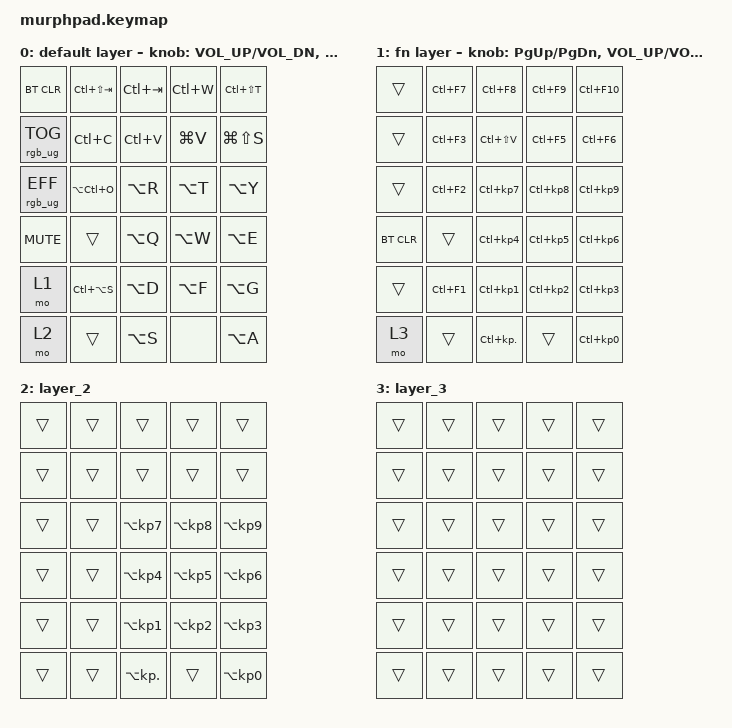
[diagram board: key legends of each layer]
/*
 * Copyright (c) 2021 The ZMK Contributors
 *
 * SPDX-License-Identifier: MIT
 */

#include <behaviors.dtsi>
#include <dt-bindings/zmk/bt.h>
#include <dt-bindings/zmk/keys.h>
#include <dt-bindings/zmk/rgb.h>

#define TIMEOUT 300

&encoder_1 { status = "okay"; };

&encoder_2 { status = "okay"; };

/ {
    combos {
        compatible = "zmk,combos";

        combo_btclr {
            timeout-ms = <TIMEOUT>;
            key-positions = <1 6>;
            bindings = <&bt BT_CLR>;
        };

        combo_reset {
            timeout-ms = <TIMEOUT>;
            key-positions = <1 3>;
            bindings = <&sys_reset>;
        };

        combo_bootloader {
            timeout-ms = <TIMEOUT>;
            key-positions = <1 2>;
            bindings = <&bootloader>;
        };

        combo_bt_nxt {
            timeout-ms = <TIMEOUT>;
            key-positions = <1 4>;
            bindings = <&bt BT_NXT>;
        };
    };

    sensors: sensors {
        compatible = "zmk,keymap-sensors";
        sensors = <&encoder_1 &encoder_2>;
        triggers-per-rotation = <20>;
    };

    keymap0: keymap {
        compatible = "zmk,keymap";

        default_layer {
            display-name = "default layer";
            bindings = <
&bt BT_CLR       &kp LC(LS(TAB))  &kp LC(TAB)  &kp LC(W)  &kp LC(LS(T))
&rgb_ug RGB_TOG  &kp LC(C)        &kp LC(V)    &kp LG(V)  &kp LG(LS(S))
&rgb_ug RGB_EFF  &kp LA(LC(O))    &kp LA(R)    &kp LA(T)  &kp LA(Y)
&kp C_MUTE       &trans           &kp LA(Q)    &kp LA(W)  &kp LA(E)
&mo 1            &kp LC(LA(S))    &kp LA(D)    &kp LA(F)  &kp LA(G)
&mo 2            &trans           &kp LA(S)    &none      &kp LA(A)
            >;

            sensor-bindings = <&inc_dec_kp C_VOL_UP C_VOL_DN &inc_dec_kp PG_UP PG_DN>;
        };

        fn_layer {
            display-name = "fn layer";
            bindings = <
&trans      &kp LC(F7)  &kp LC(F8)           &kp LC(F9)           &kp LC(F10)
&trans      &kp LC(F3)  &kp LC(LS(V))        &kp LC(F5)           &kp LC(F6)
&trans      &kp LC(F2)  &kp LC(KP_N7)        &kp LC(KP_N8)        &kp LC(KP_N9)
&bt BT_CLR  &trans      &kp LC(KP_NUMBER_4)  &kp LC(KP_N5)        &kp LC(KP_N6)
&trans      &kp LC(F1)  &kp LC(KP_N1)        &kp LC(KP_NUMBER_2)  &kp LC(KP_N3)
&mo 3       &trans      &kp LC(KP_DOT)       &trans               &kp LC(KP_N0)
            >;

            sensor-bindings = <&inc_dec_kp PG_UP PG_DN &inc_dec_kp C_VOL_UP C_VOL_DN>;
        };

        layer_2 {
            bindings = <
&trans  &trans  &trans               &trans               &trans
&trans  &trans  &trans               &trans               &trans
&trans  &trans  &kp LA(KP_NUMBER_7)  &kp LA(KP_NUMBER_8)  &kp LA(KP_NUMBER_9)
&trans  &trans  &kp LA(KP_NUMBER_4)  &kp LA(KP_NUMBER_5)  &kp LA(KP_NUMBER_6)
&trans  &trans  &kp LA(KP_NUMBER_1)  &kp LA(KP_NUMBER_2)  &kp LA(KP_NUMBER_3)
&trans  &trans  &kp LA(KP_DOT)       &trans               &kp LA(KP_NUMBER_0)
            >;
        };

        layer_3 {
            bindings = <
&trans  &trans  &trans  &trans  &trans
&trans  &trans  &trans  &trans  &trans
&trans  &trans  &trans  &trans  &trans
&trans  &trans  &trans  &trans  &trans
&trans  &trans  &trans  &trans  &trans
&trans  &trans  &trans  &trans  &trans
            >;
        };
    };
};
